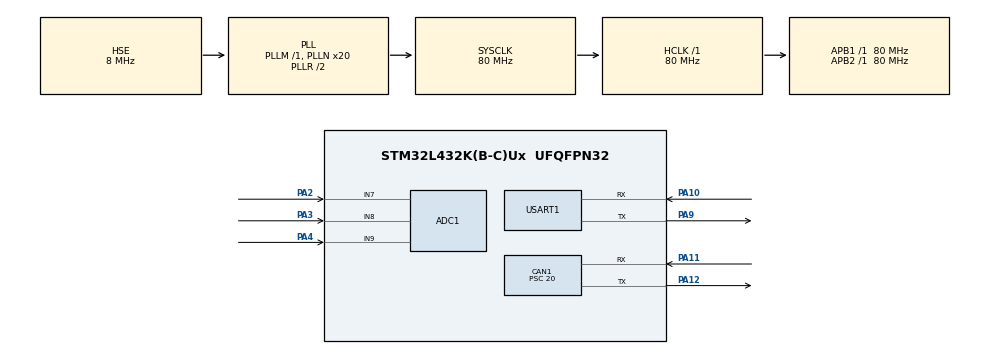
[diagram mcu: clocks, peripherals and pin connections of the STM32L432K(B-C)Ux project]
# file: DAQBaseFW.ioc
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ADC1.Channel-0\#ChannelRegularConversion=ADC_CHANNEL_7
ADC1.NbrOfConversionFlag=1
ADC1.OffsetNumber-0\#ChannelRegularConversion=ADC_OFFSET_NONE
ADC1.Rank-0\#ChannelRegularConversion=1
ADC1.SamplingTime-0\#ChannelRegularConversion=ADC_SAMPLETIME_2CYCLES_5
ADC1.master=1
CAN1.BS1=CAN_BS1_13TQ
CAN1.BS2=CAN_BS2_2TQ
CAN1.CalculateBaudRate=250000
CAN1.CalculateTimeBit=4000
CAN1.CalculateTimeQuantum=250.0
CAN1.Prescaler=20
FREERTOS.Queues01=CANTxQueue,16,uint16_t,0,Dynamic,NULL,NULL
FREERTOS.Tasks01=MainTask,24,128,mainTask,Default,NULL,Dynamic,NULL,NULL;TxCANTask,25,128,txCANTask,Default,NULL,Dynamic,NULL,NULL
Mcu.Family=STM32L4
Mcu.Name=STM32L432K(B-C)Ux
Mcu.Package=UFQFPN32
NVIC.PriorityGroup=NVIC_PRIORITYGROUP_4
NVIC.TIM6_DAC_IRQn=true\:15\:0\:false\:false\:true\:false\:false\:true\:true
NVIC.TimeBase=TIM6_DAC_IRQn
NVIC.TimeBaseIP=TIM6
PA0.Mode=HSE-External-Clock-Source-for-LittleOrca
PA0.Signal=RCC_CK_IN
PA10.Mode=Asynchronous
PA10.Signal=USART1_RX
PA11.Mode=CAN_Activate
PA11.Signal=CAN1_RX
PA12.Mode=CAN_Activate
PA12.Signal=CAN1_TX
PA2.Signal=ADCx_IN7
PA3.Signal=ADCx_IN8
PA4.Signal=ADCx_IN9
PA9.Mode=Asynchronous
PA9.Signal=USART1_TX
ProjectManager.HeapSize=0x200
ProjectManager.StackSize=0x400
ProjectManager.TargetToolchain=Makefile
RCC.ADCFreq_Value=64000000
RCC.AHBFreq_Value=80000000
RCC.APB1Freq_Value=80000000
RCC.APB1TimFreq_Value=80000000
RCC.APB2Freq_Value=80000000
RCC.APB2TimFreq_Value=80000000
RCC.CortexFreq_Value=80000000
RCC.EnbaleCSS=true
RCC.HCLKFreq_Value=80000000
RCC.HSE_VALUE=8000000
RCC.HSI48_VALUE=48000000
RCC.HSI_VALUE=16000000
RCC.LSE_VALUE=32768
RCC.MSI_VALUE=4000000
RCC.PLLN=20
RCC.PLLSAI1N=16
RCC.PLLSourceVirtual=RCC_PLLSOURCE_HSE
RCC.SYSCLKFreq_VALUE=80000000
RCC.SYSCLKSource=RCC_SYSCLKSOURCE_PLLCLK
RCC.USBFreq_Value=64000000
RCC.VCOOutputFreq_Value=160000000
SH.ADCx_IN7.0=ADC1_IN7,IN7-Single-Ended
SH.ADCx_IN8.0=ADC1_IN8,IN8-Single-Ended
SH.ADCx_IN9.0=ADC1_IN9,IN9-Single-Ended
USART1.VirtualMode-Asynchronous=VM_ASYNC
VP_FREERTOS_VS_CMSIS_V2.Mode=CMSIS_V2
VP_SYS_VS_tim6.Mode=TIM6
board=custom

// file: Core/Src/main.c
/* USER CODE BEGIN Header */
/**
  ******************************************************************************
  * @file           : main.c
  * @brief          : Main program body
  ******************************************************************************
  * @attention
  *
  * Copyright (c) 2025 STMicroelectronics.
  * All rights reserved.
  *
  * This software is licensed under terms that can be found in the LICENSE file
  * in the root directory of this software component.
  * If no LICENSE file comes with this software, it is provided AS-IS.
  *
  ******************************************************************************
  */
/* USER CODE END Header */
#include "main.h"
#include "cmsis_os.h"
#include "adc.h"
#include "can.h"
#include "usart.h"
#include "gpio.h"
#include "log.h"

void SystemClock_Config(void);
void MX_FREERTOS_Init(void);

int main(void)
{

  /* MCU Configuration--------------------------------------------------------*/

  /* Reset of all peripherals, Initializes the Flash interface and the Systick. */
  HAL_Init();

  /* Configure the system clock */
  SystemClock_Config();

  /* Initialize all configured peripherals */
  MX_GPIO_Init();
  MX_ADC1_Init();
  MX_CAN1_Init();
  MX_USART1_UART_Init();

  /* Init scheduler */
  osKernelInitialize();  /* Call init function for freertos objects (in cmsis_os2.c) */
  MX_FREERTOS_Init();

  /* Start scheduler */
  osKernelStart();

  /* We should never get here as control is now taken by the scheduler */

  /* Infinite loop */
  while (1)
  {

  }
}

void SystemClock_Config(void)
{
  RCC_OscInitTypeDef RCC_OscInitStruct = {0};
  RCC_ClkInitTypeDef RCC_ClkInitStruct = {0};

  /** Configure the main internal regulator output voltage
  */
  if (HAL_PWREx_ControlVoltageScaling(PWR_REGULATOR_VOLTAGE_SCALE1) != HAL_OK)
  {
    Error_Handler();
  }

  /** Initializes the RCC Oscillators according to the specified parameters
  * in the RCC_OscInitTypeDef structure.
  */
  RCC_OscInitStruct.OscillatorType = RCC_OSCILLATORTYPE_HSE;
  RCC_OscInitStruct.HSEState = RCC_HSE_BYPASS;
  RCC_OscInitStruct.PLL.PLLState = RCC_PLL_ON;
  RCC_OscInitStruct.PLL.PLLSource = RCC_PLLSOURCE_HSE;
  RCC_OscInitStruct.PLL.PLLM = 1;
  RCC_OscInitStruct.PLL.PLLN = 20;
  RCC_OscInitStruct.PLL.PLLP = RCC_PLLP_DIV7;
  RCC_OscInitStruct.PLL.PLLQ = RCC_PLLQ_DIV2;
  RCC_OscInitStruct.PLL.PLLR = RCC_PLLR_DIV2;
  if (HAL_RCC_OscConfig(&RCC_OscInitStruct) != HAL_OK)
  {
    Error_Handler();
  }

  /** Initializes the CPU, AHB and APB buses clocks
  */
  RCC_ClkInitStruct.ClockType = RCC_CLOCKTYPE_HCLK|RCC_CLOCKTYPE_SYSCLK
                              |RCC_CLOCKTYPE_PCLK1|RCC_CLOCKTYPE_PCLK2;
  RCC_ClkInitStruct.SYSCLKSource = RCC_SYSCLKSOURCE_PLLCLK;
  RCC_ClkInitStruct.AHBCLKDivider = RCC_SYSCLK_DIV1;
  RCC_ClkInitStruct.APB1CLKDivider = RCC_HCLK_DIV1;
  RCC_ClkInitStruct.APB2CLKDivider = RCC_HCLK_DIV1;

  if (HAL_RCC_ClockConfig(&RCC_ClkInitStruct, FLASH_LATENCY_4) != HAL_OK)
  {
    Error_Handler();
  }

  /** Enables the Clock Security System
  */
  HAL_RCC_EnableCSS();
}

void HAL_TIM_PeriodElapsedCallback(TIM_HandleTypeDef *htim)
{
  if (htim->Instance == TIM6)
  {
    HAL_IncTick();
  }
}

void Error_Handler(void)
{
  /* USER CODE BEGIN Error_Handler_Debug */
  /* User can add his own implementation to report the HAL error return state */
  LOG_ERR("Reached error handler");
  __disable_irq();
  while (1)
  {
  }
  /* USER CODE END Error_Handler_Debug */
}

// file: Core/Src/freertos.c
/* USER CODE BEGIN Header */
/**
  ******************************************************************************
  * File Name          : freertos.c
  * Description        : Code for freertos applications
  ******************************************************************************
  * @attention
  *
  * Copyright (c) 2025 STMicroelectronics.
  * All rights reserved.
  *
  * This software is licensed under terms that can be found in the LICENSE file
  * in the root directory of this software component.
  * If no LICENSE file comes with this software, it is provided AS-IS.
  *
  ******************************************************************************
  */
/* USER CODE END Header */

#include "FreeRTOS.h"
#include "task.h"
#include "main.h"
#include "cmsis_os.h"
#include "log.h"
#include "daq_config.h"
#include "math.h"
#include "can.h"

/* USER CODE BEGIN PTD */
typedef struct can_msg_wrapper {
  uint32_t Reason;
  uint8_t *data;
} CANMsgWrapper;
/* USER CODE END PTD */

/* USER CODE BEGIN PD */
#define MS_TO_TICKS(ms) (ms / 1000) * configTICK_RATE_HZ
/* USER CODE END PD */

/* USER CODE BEGIN Variables */
extern CAN_HandleTypeDef hcan1;
/* USER CODE END Variables */
/* Definitions for MainTask */
osThreadId_t MainTaskHandle;
const osThreadAttr_t MainTask_attributes = {
  .name = "MainTask",
  .stack_size = 128 * 4,
  .priority = (osPriority_t) osPriorityNormal,
};
/* Definitions for TxCANTask */
osThreadId_t TxCANTaskHandle;
const osThreadAttr_t TxCANTask_attributes = {
  .name = "TxCANTask",
  .stack_size = 128 * 4,
  .priority = (osPriority_t) osPriorityNormal1,
};
osThreadId_t HeartbeatTaskHandle;
const osThreadAttr_t HeartbeatTaskHandle_attributes = {
  .name = "HeartbeatTask",
  .stack_size = 128 * 4,
  .priority = osPriorityNormal
};

/* Definitions for CANTxQueue */
osMessageQueueId_t CANTxQueueHandle;
const osMessageQueueAttr_t CANTxQueue_attributes = {
  .name = "CANTxQueue"
};

osMutexId_t CANMutexHandle;
const osMutexAttr_t CANMutex_attributes = {
  .name = "CANMutex",
  .attr_bits = osMutexPrioInherit | osMutexRobust
};

/* USER CODE BEGIN FunctionPrototypes */
// void addCANQueue(uint16_t canID, uint8_t* data, uint8_t len);
void sendHeartbeatTask(void *arg);
/* USER CODE END FunctionPrototypes */

void mainTask(void *argument);
void txCANTask(void *argument);

void MX_FREERTOS_Init(void); /* (MISRA C 2004 rule 8.1) */

void MX_FREERTOS_Init(void) {

  /* USER CODE BEGIN RTOS_MUTEX */
  /* add mutexes, ... */
  CANMutexHandle = osMutexNew(&CANMutex_attributes);
  if (CANMutexHandle == NULL) {
      LOG_ERR("Failed to create CANMutex");
  }
  /* USER CODE END RTOS_MUTEX */

  /* Create the queue(s) */
  /* creation of CANTxQueue */
  CANTxQueueHandle = osMessageQueueNew (16, sizeof(uint16_t), &CANTxQueue_attributes);

  /* Create the thread(s) */
  /* creation of MainTask */
  MainTaskHandle = osThreadNew(mainTask, NULL, &MainTask_attributes);

  /* creation of TxCANTask */
  TxCANTaskHandle = osThreadNew(txCANTask, NULL, &TxCANTask_attributes);

  /* USER CODE BEGIN RTOS_THREADS */
  HeartbeatTaskHandle = osThreadNew(sendHeartbeatTask, NULL, &HeartbeatTaskHandle_attributes);
  /* USER CODE END RTOS_THREADS */

}

void mainTask(void *argument)
{
  /* USER CODE BEGIN mainTask */
  if (DATA_BOX_ID == 0x1FFFFFFF) {
    DEBUG_MSG("Data Box ID is 0x1FFFFF00. We are in test mode!");
  }
  /* Infinite loop */
  for(;;)
  {
    osDelay(1);
  }
  /* USER CODE END mainTask */
}

void txCANTask(void *argument)
{
  /* USER CODE BEGIN txCANTask */
  CAN_TxHeaderTypeDef tx_header = {
    .StdId = 0,
    .IDE = CAN_ID_EXT,
    .RTR = 0,
    .DLC = 8, // 8 bytes data important
    .TransmitGlobalTime = DISABLE // worthless
  };
  /* Infinite loop */
  for(;;)
  {
    if (osMutexAcquire(CANMutexHandle, osWaitForever) == osOK) {
      CANMsgWrapper msg;
      osMessageQueueGet(CANTxQueueHandle, &msg, NULL, osWaitForever);
      // Construct header according to CAN ID spec
      tx_header.ExtId = CAN_BUS_ID | DATA_BOX_ID | msg.Reason;
      HAL_CAN_AddTxMessage(&hcan1, &tx_header, msg.data, NULL);
      osMutexRelease(CANMutexHandle);
    }
    osDelay(1);
  }
  /* USER CODE END txCANTask */
}

/* USER CODE BEGIN Application */
// void addCANQueue(uint16_t canID, uint8_t* data, uint8_t len) {

// }

void sendHeartbeatTask(void *arg) {
  uint8_t data[8];

  CANMsgWrapper msg = {
    .Reason = REASON_HEARTBEAT,
  };

  uint32_t last_tick = 0;

  for (;;) {

    uint32_t ticks = osKernelGetTickCount();

    // Bits 0-3 have tick count
    data[0] = ticks & 0x000000FF;
    data[1] = (ticks & 0x0000FF00) >> 4;
    data[2] = (ticks & 0x00FF0000) >> 12;
    data[3] = (ticks & 0xFF000000) >> 28;

    last_tick = ticks - last_tick;

    // Bits 4-7 have ticks since last heartbeat
    data[4] = last_tick & 0x000000FF;
    data[5] = (last_tick & 0x0000FF00) >> 4;
    data[6] = (last_tick & 0x00FF0000) >> 12;
    data[7] = (last_tick & 0xFF000000) >> 28;

    osMessageQueuePut(CANTxQueueHandle, &msg, 5, osWaitForever); // is &msg a no no?

    msg.data = data;

    last_tick = ticks;

    osDelayUntil(osKernelGetTickCount() + MS_TO_TICKS(5000)); // Send heartbeat every 5 sec
  }
}
/* USER CODE END Application */
